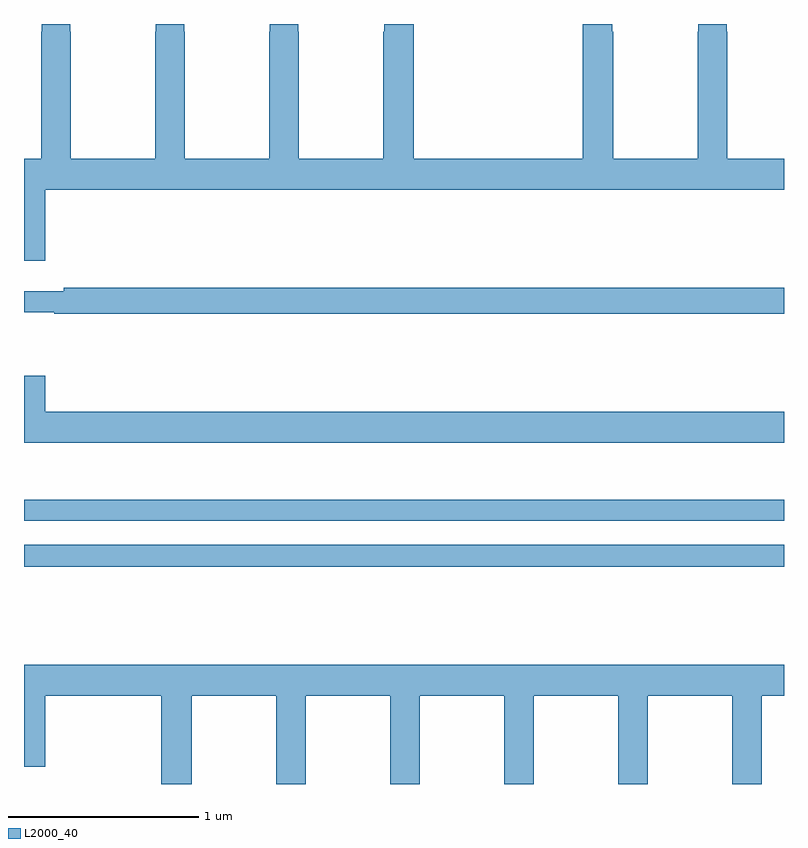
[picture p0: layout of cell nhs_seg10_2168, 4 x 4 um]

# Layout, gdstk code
import gdstk
lib = gdstk.Library(unit=1e-6, precision=1e-09)
def R(c, l, rs):  # rectangles x0, y0, x1, y1
    for r in rs: c.add(gdstk.rectangle(r[:2], r[2:], *l))
def P(c, l, *ps):  # polygons
    for p in ps: c.add(gdstk.Polygon(p, *l))
L2000_40 = (2000, 40)

nhs_seg10_2168 = lib.new_cell('nhs_seg10_2168')
R(nhs_seg10_2168, L2000_40, [(225,1319.644,229,1319.76), (225,1319.886,229,1319.995)])
P(nhs_seg10_2168, L2000_40, [(225.112,1321.628),(229,1321.628),(229,1321.792),(228.702,1321.792),(228.702,1322.459),(228.699,1322.459),(228.699,1322.5),(228.549,1322.5),(228.549,1322.459),(228.547,1322.459),(228.547,1321.792),(228.102,1321.792),(228.102,1322.459),(228.095,1322.459),(228.095,1322.5),(227.942,1322.5),(227.942,1321.792),(227.051,1321.792),(227.051,1322.5),(226.897,1322.5),(226.897,1322.459),(226.891,1322.459),(226.891,1321.792),(226.446,1321.792),(226.446,1322.459),(226.443,1322.459),(226.443,1322.5),(226.293,1322.5),(226.293,1322.459),(226.291,1322.459),(226.291,1321.792),(225.846,1321.792),(225.846,1322.459),(225.843,1322.459),(225.843,1322.5),(225.693,1322.5),(225.693,1322.459),(225.691,1322.459),(225.691,1321.792),(225.246,1321.792),(225.246,1322.459),(225.243,1322.459),(225.243,1322.5),(225.093,1322.5),(225.093,1322.459),(225.091,1322.459),(225.091,1321.792),(225,1321.792),(225,1321.254),(225.112,1321.254)],
  [(229,1321.112),(225.208,1321.112),(225.208,1321.093),(225,1321.093),(225,1320.984),(225.158,1320.984),(225.158,1320.976),(229,1320.976)],
  [(229,1320.46),(225.112,1320.46),(225.112,1320.649),(225,1320.649),(225,1320.296),(229,1320.296)],
  [(225.882,1318.964),(226.327,1318.964),(226.327,1318.5),(226.482,1318.5),(226.482,1318.964),(226.927,1318.964),(226.927,1318.5),(227.082,1318.5),(227.082,1318.964),(227.527,1318.964),(227.527,1318.5),(227.682,1318.5),(227.682,1318.964),(228.127,1318.964),(228.127,1318.5),(228.282,1318.5),(228.282,1318.964),(228.727,1318.964),(228.727,1318.5),(228.882,1318.5),(228.882,1318.964),(229,1318.964),(229,1319.128),(225,1319.128),(225,1318.59),(225.112,1318.59),(225.112,1318.964),(225.722,1318.964),(225.722,1318.5),(225.882,1318.5)])

lib.write_gds('nhs_seg10_2168.gds')
